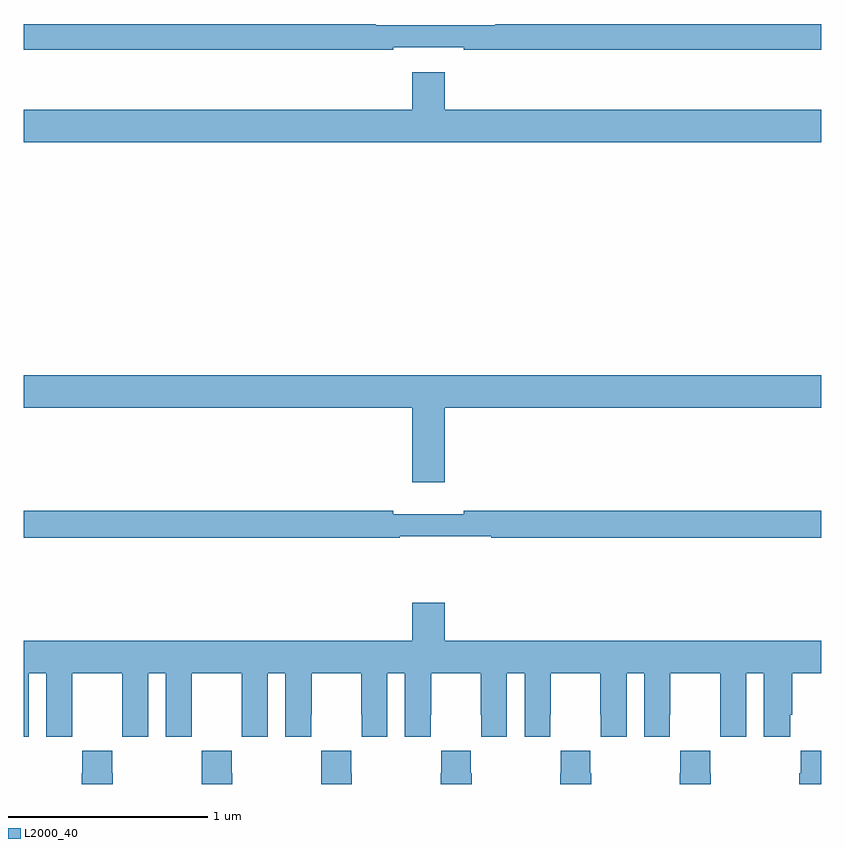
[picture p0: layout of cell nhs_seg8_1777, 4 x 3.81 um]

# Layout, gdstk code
import gdstk
lib = gdstk.Library(unit=1e-6, precision=1e-09)
def P(c, l, *ps):  # polygons
    for p in ps: c.add(gdstk.Polygon(p, *l))
L2000_40 = (2000, 40)

nhs_seg8_1777 = lib.new_cell('nhs_seg8_1777')
P(nhs_seg8_1777, L2000_40, [(224.852,1163.598),(225.208,1163.598),(225.208,1163.586),(227,1163.586),(227,1163.714),(225.365,1163.714),(225.365,1163.707),(224.765,1163.707),(224.765,1163.714),(223,1163.714),(223,1163.586),(224.852,1163.586)],
  [(227,1163.284),(225.112,1163.284),(225.112,1163.473),(224.948,1163.473),(224.948,1163.284),(223,1163.284),(223,1163.12),(227,1163.12)],
  [(225.112,1161.788),(227,1161.788),(227,1161.952),(223,1161.952),(223,1161.788),(224.948,1161.788),(224.948,1161.414),(225.112,1161.414)],
  [(224.885,1161.144),(225.345,1161.144),(225.345,1161.136),(227,1161.136),(227,1161.272),(225.208,1161.272),(225.208,1161.253),(224.852,1161.253),(224.852,1161.272),(223,1161.272),(223,1161.136),(224.885,1161.136)],
  [(224.948,1160.62),(223,1160.62),(223,1160.136),(223.024,1160.136),(223.024,1160.456),(223.112,1160.456),(223.112,1160.136),(223.242,1160.136),(223.242,1160.248),(223.243,1160.248),(223.243,1160.456),(223.493,1160.456),(223.493,1160.248),(223.494,1160.248),(223.494,1160.136),(223.624,1160.136),(223.624,1160.456),(223.712,1160.456),(223.712,1160.136),(223.842,1160.136),(223.842,1160.248),(223.843,1160.248),(223.843,1160.456),(224.093,1160.456),(224.093,1160.248),(224.094,1160.248),(224.094,1160.136),(224.224,1160.136),(224.224,1160.456),(224.312,1160.456),(224.312,1160.136),(224.442,1160.136),(224.442,1160.248),(224.443,1160.248),(224.443,1160.456),(224.693,1160.456),(224.693,1160.248),(224.694,1160.248),(224.694,1160.136),(224.824,1160.136),(224.824,1160.456),(224.912,1160.456),(224.912,1160.136),(225.042,1160.136),(225.042,1160.248),(225.043,1160.248),(225.043,1160.456),(225.293,1160.456),(225.293,1160.248),(225.294,1160.248),(225.294,1160.136),(225.424,1160.136),(225.424,1160.456),(225.512,1160.456),(225.512,1160.136),(225.642,1160.136),(225.642,1160.248),(225.643,1160.248),(225.643,1160.456),(225.893,1160.456),(225.893,1160.248),(225.894,1160.248),(225.894,1160.136),(226.024,1160.136),(226.024,1160.456),(226.112,1160.456),(226.112,1160.136),(226.242,1160.136),(226.242,1160.248),(226.243,1160.248),(226.243,1160.456),(226.493,1160.456),(226.493,1160.248),(226.494,1160.248),(226.494,1160.136),(226.624,1160.136),(226.624,1160.456),(226.712,1160.456),(226.712,1160.136),(226.846,1160.136),(226.846,1160.248),(226.856,1160.248),(226.856,1160.456),(227,1160.456),(227,1160.62),(225.112,1160.62),(225.112,1160.809),(224.948,1160.809)],
  [(227,1160.068),(226.897,1160.068),(226.897,1159.955),(226.891,1159.955),(226.891,1159.9),(227,1159.9)],
  [(225.846,1159.955),(225.843,1159.955),(225.843,1160.068),(225.693,1160.068),(225.693,1159.955),(225.691,1159.955),(225.691,1159.9),(225.846,1159.9)],
  [(226.446,1159.955),(226.443,1159.955),(226.443,1160.068),(226.293,1160.068),(226.293,1159.955),(226.291,1159.955),(226.291,1159.9),(226.446,1159.9)],
  [(223.446,1159.955),(223.443,1159.955),(223.443,1160.068),(223.293,1160.068),(223.293,1159.955),(223.291,1159.955),(223.291,1159.9),(223.446,1159.9)],
  [(224.046,1159.955),(224.043,1159.955),(224.043,1160.068),(223.893,1160.068),(223.893,1159.955),(223.891,1159.955),(223.891,1159.9),(224.046,1159.9)],
  [(224.646,1159.955),(224.643,1159.955),(224.643,1160.068),(224.493,1160.068),(224.493,1159.955),(224.491,1159.955),(224.491,1159.9),(224.646,1159.9)],
  [(225.246,1159.955),(225.243,1159.955),(225.243,1160.068),(225.093,1160.068),(225.093,1159.955),(225.091,1159.955),(225.091,1159.9),(225.246,1159.9)])

lib.write_gds('nhs_seg8_1777.gds')
